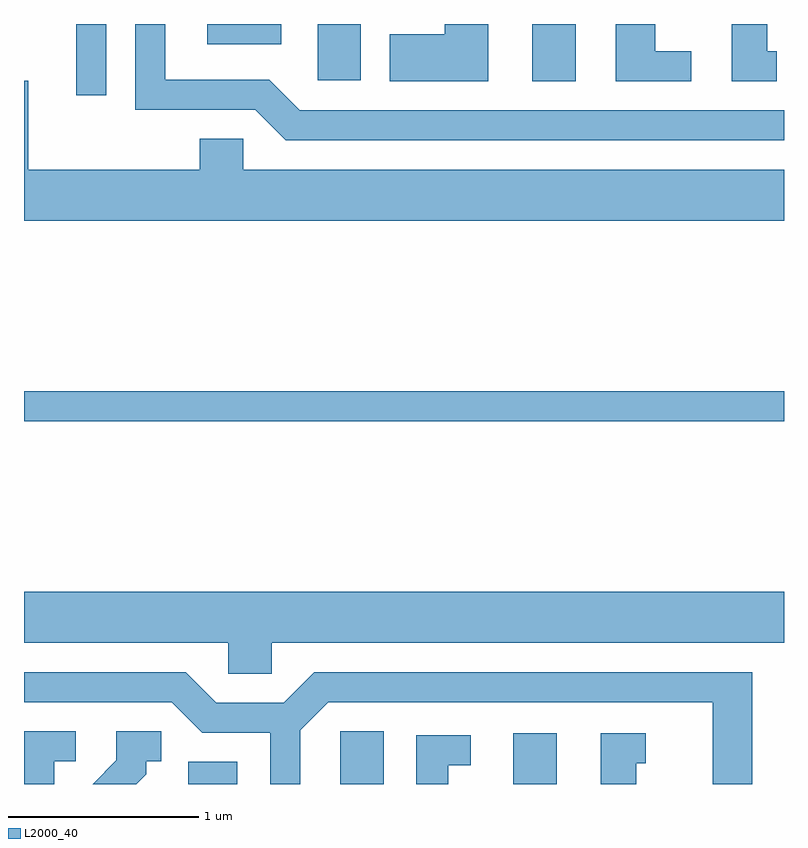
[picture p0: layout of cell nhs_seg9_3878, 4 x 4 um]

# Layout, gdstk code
import gdstk
lib = gdstk.Library(unit=1e-6, precision=1e-09)
def R(c, l, rs):  # rectangles x0, y0, x1, y1
    for r in rs: c.add(gdstk.rectangle(r[:2], r[2:], *l))
def P(c, l, *ps):  # polygons
    for p in ps: c.add(gdstk.Polygon(p, *l))
L2000_40 = (2000, 40)

nhs_seg9_3878 = lib.new_cell('nhs_seg9_3878')
R(nhs_seg9_3878, L2000_40, [(300.476,1964.432,300.734,1964.549), (301.276,1964.432,301.504,1964.709), (302.186,1964.432,302.414,1964.699), (299.611,1966.341,303.611,1966.499), (299.886,1968.058,300.044,1968.432), (302.286,1968.131,302.514,1968.432), (301.156,1968.136,301.384,1968.432), (300.576,1968.326,300.964,1968.432)])
P(nhs_seg9_3878, L2000_40, [(303.611,1967.979),(301.062,1967.979),(300.902,1968.139),(300.354,1968.139),(300.354,1968.432),(300.196,1968.432),(300.196,1967.981),(300.829,1967.981),(300.989,1967.821),(303.611,1967.821)],
  [(302.054,1968.432),(301.826,1968.432),(301.826,1968.379),(301.536,1968.379),(301.536,1968.131),(302.054,1968.131)],
  [(303.123,1968.289),(302.934,1968.289),(302.934,1968.432),(302.726,1968.432),(302.726,1968.131),(303.123,1968.131)],
  [(303.573,1968.289),(303.524,1968.289),(303.524,1968.432),(303.336,1968.432),(303.336,1968.131),(303.573,1968.131)],
  [(303.611,1967.664),(300.764,1967.664),(300.764,1967.829),(300.536,1967.829),(300.536,1967.664),(299.634,1967.664),(299.634,1968.134),(299.611,1968.134),(299.611,1967.396),(303.611,1967.396)],
  [(300.914,1965.176),(303.611,1965.176),(303.611,1965.444),(299.611,1965.444),(299.611,1965.176),(300.686,1965.176),(300.686,1965.011),(300.914,1965.011)],
  [(301.064,1964.714),(301.212,1964.861),(303.236,1964.861),(303.236,1964.432),(303.444,1964.432),(303.444,1965.019),(301.139,1965.019),(300.979,1964.859),(300.622,1964.859),(300.462,1965.019),(299.611,1965.019),(299.611,1964.861),(300.389,1964.861),(300.549,1964.701),(300.906,1964.701),(300.906,1964.432),(301.064,1964.432)],
  [(300.254,1964.484),(300.254,1964.551),(300.333,1964.551),(300.333,1964.709),(300.096,1964.709),(300.096,1964.557),(299.972,1964.432),(300.202,1964.432)],
  [(299.769,1964.551),(299.883,1964.551),(299.883,1964.709),(299.611,1964.709),(299.611,1964.432),(299.769,1964.432)],
  [(302.834,1964.541),(302.883,1964.541),(302.883,1964.699),(302.646,1964.699),(302.646,1964.432),(302.834,1964.432)],
  [(301.844,1964.531),(301.963,1964.531),(301.963,1964.689),(301.676,1964.689),(301.676,1964.432),(301.844,1964.432)])

lib.write_gds('nhs_seg9_3878.gds')
